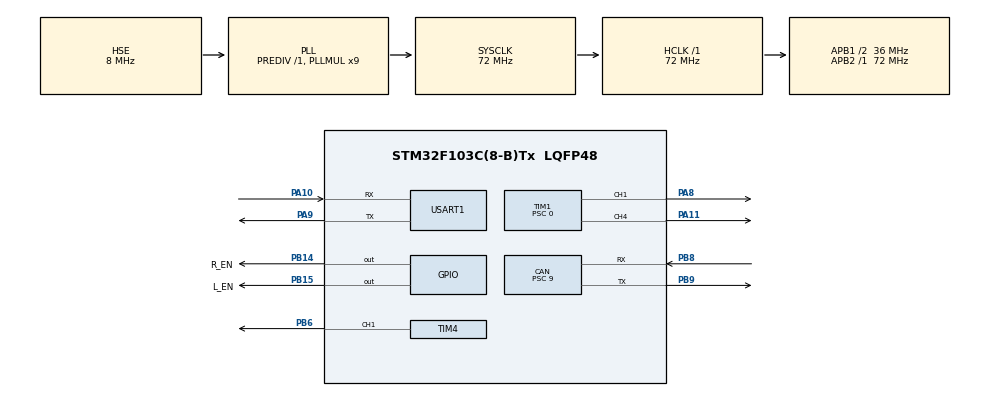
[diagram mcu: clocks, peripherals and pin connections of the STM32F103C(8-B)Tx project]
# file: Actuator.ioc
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CAN.BS1=CAN_BS1_3TQ
CAN.BS2=CAN_BS2_4TQ
CAN.CalculateBaudRate=500000
CAN.CalculateTimeBit=2000
CAN.CalculateTimeQuantum=250.0
CAN.Prescaler=9
Mcu.Family=STM32F1
Mcu.Name=STM32F103C(8-B)Tx
Mcu.Package=LQFP48
NVIC.PriorityGroup=NVIC_PRIORITYGROUP_4
NVIC.TIM2_IRQn=true\:0\:0\:false\:false\:true\:true\:true\:true
NVIC.USB_LP_CAN1_RX0_IRQn=true\:0\:0\:false\:false\:true\:true\:true\:true
PA10.Mode=Asynchronous
PA10.Signal=USART1_RX
PA11.Signal=S_TIM1_CH4
PA8.Signal=S_TIM1_CH1
PA9.Mode=Asynchronous
PA9.Signal=USART1_TX
PB14.GPIO_Label=R_EN
PB14.Signal=GPIO_Output
PB15.GPIO_Label=L_EN
PB15.Signal=GPIO_Output
PB6.Signal=S_TIM4_CH1
PB8.Mode=CAN_Activate
PB8.Signal=CAN_RX
PB9.Mode=CAN_Activate
PB9.Signal=CAN_TX
PD0-OSC_IN.Mode=HSE-External-Oscillator
PD0-OSC_IN.Signal=RCC_OSC_IN
PD1-OSC_OUT.Mode=HSE-External-Oscillator
PD1-OSC_OUT.Signal=RCC_OSC_OUT
ProjectManager.HeapSize=0x200
ProjectManager.StackSize=0x400
ProjectManager.TargetToolchain=STM32CubeIDE
RCC.AHBFreq_Value=72000000
RCC.APB1CLKDivider=RCC_HCLK_DIV2
RCC.APB1Freq_Value=36000000
RCC.APB1TimFreq_Value=72000000
RCC.APB2Freq_Value=72000000
RCC.APB2TimFreq_Value=72000000
RCC.HCLKFreq_Value=72000000
RCC.PLLMUL=RCC_PLL_MUL9
RCC.PLLSourceVirtual=RCC_PLLSOURCE_HSE
RCC.SYSCLKFreq_VALUE=72000000
RCC.SYSCLKSource=RCC_SYSCLKSOURCE_PLLCLK
RCC.USBFreq_Value=72000000
SH.S_TIM1_CH1.0=TIM1_CH1,PWM Generation1 CH1
SH.S_TIM1_CH4.0=TIM1_CH4,PWM Generation4 CH4
SH.S_TIM4_CH1.0=TIM4_CH1,PWM Generation1 CH1
TIM1.Channel-PWM\ Generation1\ CH1=TIM_CHANNEL_1
TIM1.Channel-PWM\ Generation4\ CH4=TIM_CHANNEL_4
TIM1.Period=7199
TIM1.Prescaler=0
TIM2.Period=29999
TIM2.Prescaler=7199
TIM4.Channel-PWM\ Generation1\ CH1=TIM_CHANNEL_1
TIM4.Period=9999
TIM4.Prescaler=143
USART1.VirtualMode=VM_ASYNC
VP_SYS_VS_ND.Mode=No_Debug
VP_TIM1_VS_ClockSourceINT.Mode=Internal
VP_TIM2_VS_ClockSourceINT.Mode=Internal
VP_TIM4_VS_ClockSourceINT.Mode=Internal
board=custom

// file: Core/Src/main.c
/* USER CODE BEGIN Header */
/**
 ******************************************************************************
 * @file           : main.c
 * @brief          : Main program body
 ******************************************************************************
 * @attention
 *
 * Copyright (c) 2024 STMicroelectronics.
 * All rights reserved.
 *
 * This software is licensed under terms that can be found in the LICENSE file
 * in the root directory of this software component.
 * If no LICENSE file comes with this software, it is provided AS-IS.
 *
 ******************************************************************************
 */
/* USER CODE END Header */
#include "main.h"

/* USER CODE BEGIN Includes */
#include <stdio.h>
#include <string.h>
#include <time.h>
#include <sys/time.h>
/* USER CODE END Includes */

/* USER CODE BEGIN PD */
#define ANGLE_NORMAL 90
#define ANGLE_LEFT 50
#define ANGLE_RIGHT 130

#define THRESHOLD 650

typedef enum {
	STRAIGHT = 0,
	TURN_LEFT,
	TURN_RIGHT,
} Mode;
/* USER CODE END PD */

CAN_HandleTypeDef hcan;

TIM_HandleTypeDef htim1;
TIM_HandleTypeDef htim2;
TIM_HandleTypeDef htim4;

UART_HandleTypeDef huart1;

/* USER CODE BEGIN PV */
CAN_RxHeaderTypeDef RxHeader;
uint8_t RxData[8];
uint8_t datacheck = 0;

Mode mode = STRAIGHT;
/* USER CODE END PV */

void SystemClock_Config(void);
static void MX_GPIO_Init(void);
static void MX_TIM4_Init(void);
static void MX_USART1_UART_Init(void);
static void MX_CAN_Init(void);
static void MX_TIM1_Init(void);
static void MX_TIM2_Init(void);

/* USER CODE BEGIN 0 */
static void setAngle(uint8_t Angle);
static void genPWM(TIM_HandleTypeDef *htim, uint32_t channel, float duty_cycle);
static void decodeNumber(uint16_t *distance1, uint8_t index);
static uint8_t crc8(uint8_t *data, uint8_t length);
static void controlMode();

void HAL_CAN_RxFifo0MsgPendingCallback(CAN_HandleTypeDef *hcan);
void HAL_TIM_PeriodElapsedCallback(TIM_HandleTypeDef *htim);
/* USER CODE END 0 */

int main(void)
{

  /* MCU Configuration--------------------------------------------------------*/

  /* Reset of all peripherals, Initializes the Flash interface and the Systick. */
  HAL_Init();

  /* Configure the system clock */
  SystemClock_Config();

  /* Initialize all configured peripherals */
  MX_GPIO_Init();
  MX_TIM4_Init();
  MX_USART1_UART_Init();
  MX_CAN_Init();
  MX_TIM1_Init();
  MX_TIM2_Init();
  /* USER CODE BEGIN 2 */
  //	Initialize local variable
	uint16_t Distance_Left, Distance_Right;

	HAL_CAN_ActivateNotification(&hcan,
	CAN_IT_RX_FIFO0_MSG_PENDING);
	HAL_CAN_Start(&hcan);

	HAL_GPIO_WritePin(L_EN_GPIO_Port, L_EN_Pin, SET);
//	HAL_GPIO_WritePin(R_EN_GPIO_Port, R_EN_Pin, SET);

	HAL_TIM_PWM_Start(&htim1, TIM_CHANNEL_1);
	HAL_TIM_PWM_Start(&htim1, TIM_CHANNEL_4);
	genPWM(&htim1, TIM_CHANNEL_4, 20);

	HAL_TIM_PWM_Start(&htim4, TIM_CHANNEL_1);
	//genPWM(&htim1, TIM_CHANNEL_1, 40);
  /* USER CODE END 2 */

  /* Infinite loop */
	while (1) {

    /* USER CODE BEGIN 3 */
		if (datacheck == 1 && crc8(RxData, 4) == RxData[4]) {
			datacheck = 0;
			decodeNumber(&Distance_Left, 0);
			decodeNumber(&Distance_Right, 2);
		}

		if (Distance_Left <= THRESHOLD) {
//			__HAL_TIM_SET_COUNTER(&htim2, 0); // reset timer
			HAL_TIM_Base_Start_IT(&htim2);
			mode = TURN_RIGHT;
		}
		else if (Distance_Right <= THRESHOLD) {
//			__HAL_TIM_SET_COUNTER(&htim2, 0); // reset timer
			HAL_TIM_Base_Start_IT(&htim2);
			mode = TURN_LEFT;
		}
		controlMode();
	}
  /* USER CODE END 3 */
}

void SystemClock_Config(void)
{
  RCC_OscInitTypeDef RCC_OscInitStruct = {0};
  RCC_ClkInitTypeDef RCC_ClkInitStruct = {0};

  /** Initializes the RCC Oscillators according to the specified parameters
  * in the RCC_OscInitTypeDef structure.
  */
  RCC_OscInitStruct.OscillatorType = RCC_OSCILLATORTYPE_HSE;
  RCC_OscInitStruct.HSEState = RCC_HSE_ON;
  RCC_OscInitStruct.HSEPredivValue = RCC_HSE_PREDIV_DIV1;
  RCC_OscInitStruct.HSIState = RCC_HSI_ON;
  RCC_OscInitStruct.PLL.PLLState = RCC_PLL_ON;
  RCC_OscInitStruct.PLL.PLLSource = RCC_PLLSOURCE_HSE;
  RCC_OscInitStruct.PLL.PLLMUL = RCC_PLL_MUL9;
  if (HAL_RCC_OscConfig(&RCC_OscInitStruct) != HAL_OK)
  {
    Error_Handler();
  }

  /** Initializes the CPU, AHB and APB buses clocks
  */
  RCC_ClkInitStruct.ClockType = RCC_CLOCKTYPE_HCLK|RCC_CLOCKTYPE_SYSCLK
                              |RCC_CLOCKTYPE_PCLK1|RCC_CLOCKTYPE_PCLK2;
  RCC_ClkInitStruct.SYSCLKSource = RCC_SYSCLKSOURCE_PLLCLK;
  RCC_ClkInitStruct.AHBCLKDivider = RCC_SYSCLK_DIV1;
  RCC_ClkInitStruct.APB1CLKDivider = RCC_HCLK_DIV2;
  RCC_ClkInitStruct.APB2CLKDivider = RCC_HCLK_DIV1;

  if (HAL_RCC_ClockConfig(&RCC_ClkInitStruct, FLASH_LATENCY_2) != HAL_OK)
  {
    Error_Handler();
  }
}

static void MX_CAN_Init(void)
{

  hcan.Instance = CAN1;
  hcan.Init.Prescaler = 9;
  hcan.Init.Mode = CAN_MODE_NORMAL;
  hcan.Init.SyncJumpWidth = CAN_SJW_1TQ;
  hcan.Init.TimeSeg1 = CAN_BS1_3TQ;
  hcan.Init.TimeSeg2 = CAN_BS2_4TQ;
  hcan.Init.TimeTriggeredMode = DISABLE;
  hcan.Init.AutoBusOff = DISABLE;
  hcan.Init.AutoWakeUp = DISABLE;
  hcan.Init.AutoRetransmission = DISABLE;
  hcan.Init.ReceiveFifoLocked = DISABLE;
  hcan.Init.TransmitFifoPriority = DISABLE;
  if (HAL_CAN_Init(&hcan) != HAL_OK)
  {
    Error_Handler();
  }
	/* USER CODE BEGIN CAN_Init 2 */
	CAN_FilterTypeDef canfilterconfig;

	canfilterconfig.FilterActivation = CAN_FILTER_ENABLE;
	canfilterconfig.FilterBank = 0;
	canfilterconfig.FilterFIFOAssignment = CAN_FILTER_FIFO0;
	canfilterconfig.FilterIdHigh = 0x012 << 5;
	canfilterconfig.FilterIdLow = 0x0000;
	canfilterconfig.FilterMaskIdHigh = 0x012 << 5;
	canfilterconfig.FilterMaskIdLow = 0x0000;
	canfilterconfig.FilterMode = CAN_FILTERMODE_IDMASK;
	canfilterconfig.FilterScale = CAN_FILTERSCALE_32BIT;

	HAL_CAN_ConfigFilter(&hcan, &canfilterconfig);
	/* USER CODE END CAN_Init 2 */

}

static void MX_TIM1_Init(void)
{

  TIM_ClockConfigTypeDef sClockSourceConfig = {0};
  TIM_MasterConfigTypeDef sMasterConfig = {0};
  TIM_OC_InitTypeDef sConfigOC = {0};
  TIM_BreakDeadTimeConfigTypeDef sBreakDeadTimeConfig = {0};

  htim1.Instance = TIM1;
  htim1.Init.Prescaler = 0;
  htim1.Init.CounterMode = TIM_COUNTERMODE_UP;
  htim1.Init.Period = 7199;
  htim1.Init.ClockDivision = TIM_CLOCKDIVISION_DIV1;
  htim1.Init.RepetitionCounter = 0;
  htim1.Init.AutoReloadPreload = TIM_AUTORELOAD_PRELOAD_DISABLE;
  if (HAL_TIM_Base_Init(&htim1) != HAL_OK)
  {
    Error_Handler();
  }
  sClockSourceConfig.ClockSource = TIM_CLOCKSOURCE_INTERNAL;
  if (HAL_TIM_ConfigClockSource(&htim1, &sClockSourceConfig) != HAL_OK)
  {
    Error_Handler();
  }
  if (HAL_TIM_PWM_Init(&htim1) != HAL_OK)
  {
    Error_Handler();
  }
  sMasterConfig.MasterOutputTrigger = TIM_TRGO_RESET;
  sMasterConfig.MasterSlaveMode = TIM_MASTERSLAVEMODE_DISABLE;
  if (HAL_TIMEx_MasterConfigSynchronization(&htim1, &sMasterConfig) != HAL_OK)
  {
    Error_Handler();
  }
  sConfigOC.OCMode = TIM_OCMODE_PWM1;
  sConfigOC.Pulse = 0;
  sConfigOC.OCPolarity = TIM_OCPOLARITY_HIGH;
  sConfigOC.OCNPolarity = TIM_OCNPOLARITY_HIGH;
  sConfigOC.OCFastMode = TIM_OCFAST_DISABLE;
  sConfigOC.OCIdleState = TIM_OCIDLESTATE_RESET;
  sConfigOC.OCNIdleState = TIM_OCNIDLESTATE_RESET;
  if (HAL_TIM_PWM_ConfigChannel(&htim1, &sConfigOC, TIM_CHANNEL_1) != HAL_OK)
  {
    Error_Handler();
  }
  if (HAL_TIM_PWM_ConfigChannel(&htim1, &sConfigOC, TIM_CHANNEL_4) != HAL_OK)
  {
    Error_Handler();
  }
  sBreakDeadTimeConfig.OffStateRunMode = TIM_OSSR_DISABLE;
  sBreakDeadTimeConfig.OffStateIDLEMode = TIM_OSSI_DISABLE;
  sBreakDeadTimeConfig.LockLevel = TIM_LOCKLEVEL_OFF;
  sBreakDeadTimeConfig.DeadTime = 0;
  sBreakDeadTimeConfig.BreakState = TIM_BREAK_DISABLE;
  sBreakDeadTimeConfig.BreakPolarity = TIM_BREAKPOLARITY_HIGH;
  sBreakDeadTimeConfig.AutomaticOutput = TIM_AUTOMATICOUTPUT_DISABLE;
  if (HAL_TIMEx_ConfigBreakDeadTime(&htim1, &sBreakDeadTimeConfig) != HAL_OK)
  {
    Error_Handler();
  }
  HAL_TIM_MspPostInit(&htim1);

}

static void MX_TIM2_Init(void)
{

  TIM_ClockConfigTypeDef sClockSourceConfig = {0};
  TIM_MasterConfigTypeDef sMasterConfig = {0};

  htim2.Instance = TIM2;
  htim2.Init.Prescaler = 7199;
  htim2.Init.CounterMode = TIM_COUNTERMODE_UP;
  htim2.Init.Period = 29999;
  htim2.Init.ClockDivision = TIM_CLOCKDIVISION_DIV1;
  htim2.Init.AutoReloadPreload = TIM_AUTORELOAD_PRELOAD_DISABLE;
  if (HAL_TIM_Base_Init(&htim2) != HAL_OK)
  {
    Error_Handler();
  }
  sClockSourceConfig.ClockSource = TIM_CLOCKSOURCE_INTERNAL;
  if (HAL_TIM_ConfigClockSource(&htim2, &sClockSourceConfig) != HAL_OK)
  {
    Error_Handler();
  }
  sMasterConfig.MasterOutputTrigger = TIM_TRGO_RESET;
  sMasterConfig.MasterSlaveMode = TIM_MASTERSLAVEMODE_DISABLE;
  if (HAL_TIMEx_MasterConfigSynchronization(&htim2, &sMasterConfig) != HAL_OK)
  {
    Error_Handler();
  }

}

static void MX_TIM4_Init(void)
{

  TIM_ClockConfigTypeDef sClockSourceConfig = {0};
  TIM_MasterConfigTypeDef sMasterConfig = {0};
  TIM_OC_InitTypeDef sConfigOC = {0};

  htim4.Instance = TIM4;
  htim4.Init.Prescaler = 143;
  htim4.Init.CounterMode = TIM_COUNTERMODE_UP;
  htim4.Init.Period = 9999;
  htim4.Init.ClockDivision = TIM_CLOCKDIVISION_DIV1;
  htim4.Init.AutoReloadPreload = TIM_AUTORELOAD_PRELOAD_DISABLE;
  if (HAL_TIM_Base_Init(&htim4) != HAL_OK)
  {
    Error_Handler();
  }
  sClockSourceConfig.ClockSource = TIM_CLOCKSOURCE_INTERNAL;
  if (HAL_TIM_ConfigClockSource(&htim4, &sClockSourceConfig) != HAL_OK)
  {
    Error_Handler();
  }
  if (HAL_TIM_PWM_Init(&htim4) != HAL_OK)
  {
    Error_Handler();
  }
  sMasterConfig.MasterOutputTrigger = TIM_TRGO_RESET;
  sMasterConfig.MasterSlaveMode = TIM_MASTERSLAVEMODE_DISABLE;
  if (HAL_TIMEx_MasterConfigSynchronization(&htim4, &sMasterConfig) != HAL_OK)
  {
    Error_Handler();
  }
  sConfigOC.OCMode = TIM_OCMODE_PWM1;
  sConfigOC.Pulse = 0;
  sConfigOC.OCPolarity = TIM_OCPOLARITY_HIGH;
  sConfigOC.OCFastMode = TIM_OCFAST_DISABLE;
  if (HAL_TIM_PWM_ConfigChannel(&htim4, &sConfigOC, TIM_CHANNEL_1) != HAL_OK)
  {
    Error_Handler();
  }
  HAL_TIM_MspPostInit(&htim4);

}

static void MX_USART1_UART_Init(void)
{

  huart1.Instance = USART1;
  huart1.Init.BaudRate = 115200;
  huart1.Init.WordLength = UART_WORDLENGTH_8B;
  huart1.Init.StopBits = UART_STOPBITS_1;
  huart1.Init.Parity = UART_PARITY_NONE;
  huart1.Init.Mode = UART_MODE_TX_RX;
  huart1.Init.HwFlowCtl = UART_HWCONTROL_NONE;
  huart1.Init.OverSampling = UART_OVERSAMPLING_16;
  if (HAL_UART_Init(&huart1) != HAL_OK)
  {
    Error_Handler();
  }

}

static void MX_GPIO_Init(void)
{
  GPIO_InitTypeDef GPIO_InitStruct = {0};

  /* GPIO Ports Clock Enable */
  __HAL_RCC_GPIOD_CLK_ENABLE();
  __HAL_RCC_GPIOB_CLK_ENABLE();
  __HAL_RCC_GPIOA_CLK_ENABLE();

  /*Configure GPIO pin Output Level */
  HAL_GPIO_WritePin(GPIOB, R_EN_Pin|L_EN_Pin, GPIO_PIN_RESET);

  /*Configure GPIO pins : R_EN_Pin L_EN_Pin */
  GPIO_InitStruct.Pin = R_EN_Pin|L_EN_Pin;
  GPIO_InitStruct.Mode = GPIO_MODE_OUTPUT_PP;
  GPIO_InitStruct.Pull = GPIO_NOPULL;
  GPIO_InitStruct.Speed = GPIO_SPEED_FREQ_LOW;
  HAL_GPIO_Init(GPIOB, &GPIO_InitStruct);

}

/* USER CODE BEGIN 4 */
static void setAngle(uint8_t Angle) {
	uint32_t newCCR = 50 * Angle / 9 + 250;
	htim4.Instance->CCR1 = newCCR;
}

void genPWM(TIM_HandleTypeDef *htim, uint32_t channel, float duty_cycle)
{
	float load = (duty_cycle / 100) * htim->Instance->ARR;
	__HAL_TIM_SET_COMPARE(htim, channel, (uint16_t)load);
}

static void decodeNumber(uint16_t *number, uint8_t index) {
	*number = (RxData[index+1] << 8) | RxData[index];
}

static uint8_t crc8(uint8_t *data, uint8_t length) {
	uint8_t crc = 0;
	uint8_t polynomial = 0x8C;  // CRC-8 SAE J1850 polynomial

	for (uint8_t i = 0; i < length; i++) {
		crc ^= data[i];
		for (uint8_t j = 8; j; j--) {
			if (crc & 0x80) crc = (crc << 1) ^ polynomial;
			else crc <<= 1;
		}
	}
	return crc;
}

static void controlMode(){
	switch (mode) {
		case STRAIGHT:
			setAngle(ANGLE_NORMAL);
			genPWM(&htim1, TIM_CHANNEL_4, 20);
			break;
		case TURN_LEFT:
			setAngle(ANGLE_LEFT);
			genPWM(&htim1, TIM_CHANNEL_4, 24);
			break;
		case TURN_RIGHT:
			setAngle(ANGLE_RIGHT);
			genPWM(&htim1, TIM_CHANNEL_4, 24);
			break;
	}
}

// Interrupt Function
void HAL_CAN_RxFifo0MsgPendingCallback(CAN_HandleTypeDef *hcan) {
	HAL_CAN_GetRxMessage(hcan, CAN_RX_FIFO0, &RxHeader, RxData);
	if (RxHeader.StdId == 0x012) {
		datacheck = 1;
	}
}

void HAL_TIM_PeriodElapsedCallback(TIM_HandleTypeDef *htim){
	if(htim->Instance == TIM2){
		mode = STRAIGHT;
		HAL_TIM_Base_Stop_IT(&htim2);
	}
}
/* USER CODE END 4 */

void Error_Handler(void)
{
	__disable_irq();
	while (1) {
	}
}
